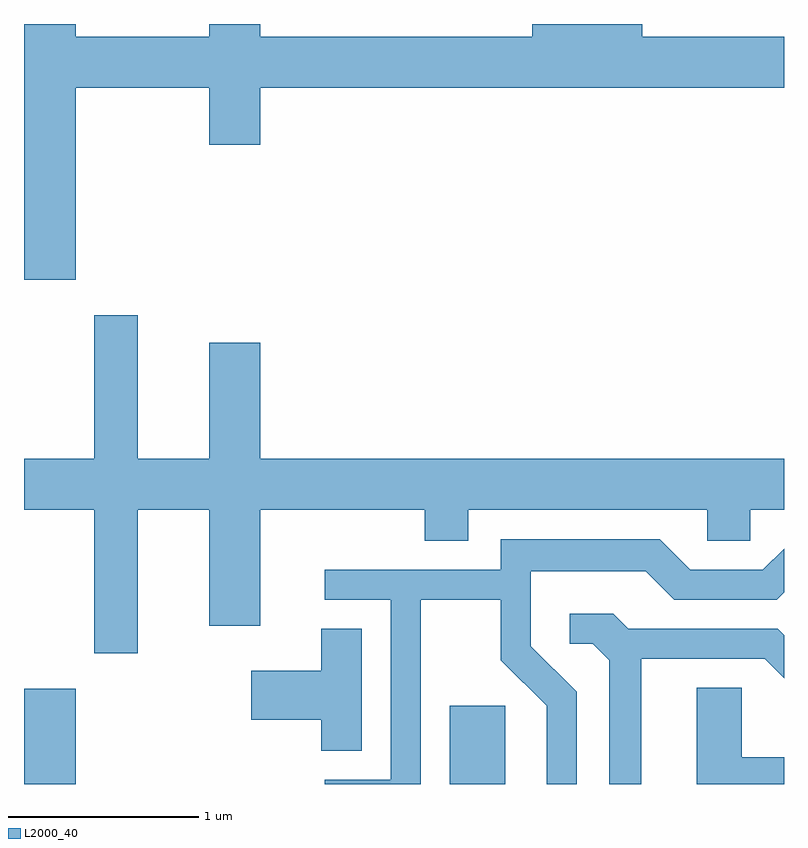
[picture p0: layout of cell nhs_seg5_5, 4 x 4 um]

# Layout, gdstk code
import gdstk
lib = gdstk.Library(unit=1e-6, precision=1e-09)
def R(c, l, rs):  # rectangles x0, y0, x1, y1
    for r in rs: c.add(gdstk.rectangle(r[:2], r[2:], *l))
def P(c, l, *ps):  # polygons
    for p in ps: c.add(gdstk.Polygon(p, *l))
L2000_40 = (2000, 40)

nhs_seg5_5 = lib.new_cell('nhs_seg5_5')
R(nhs_seg5_5, L2000_40, [(185.611,1402.072,185.884,1402.574), (187.851,1402.072,188.144,1402.484)])
P(nhs_seg5_5, L2000_40, [(185.884,1405.736),(186.586,1405.736),(186.586,1405.436),(186.854,1405.436),(186.854,1405.736),(189.611,1405.736),(189.611,1406.004),(188.864,1406.004),(188.864,1406.072),(188.286,1406.072),(188.286,1406.004),(186.854,1406.004),(186.854,1406.072),(186.586,1406.072),(186.586,1406.004),(185.884,1406.004),(185.884,1406.072),(185.611,1406.072),(185.611,1404.726),(185.884,1404.726)],
  [(186.209,1403.516),(186.586,1403.516),(186.586,1402.906),(186.854,1402.906),(186.854,1403.516),(187.721,1403.516),(187.721,1403.351),(187.949,1403.351),(187.949,1403.516),(189.206,1403.516),(189.206,1403.351),(189.434,1403.351),(189.434,1403.516),(189.611,1403.516),(189.611,1403.784),(186.854,1403.784),(186.854,1404.394),(186.586,1404.394),(186.586,1403.784),(186.209,1403.784),(186.209,1404.539),(185.981,1404.539),(185.981,1403.784),(185.611,1403.784),(185.611,1403.516),(185.981,1403.516),(185.981,1402.761),(186.209,1402.761)],
  [(187.699,1403.041),(188.121,1403.041),(188.121,1402.724),(188.361,1402.484),(188.361,1402.072),(188.519,1402.072),(188.519,1402.557),(188.279,1402.797),(188.279,1403.191),(188.884,1403.191),(189.034,1403.041),(189.572,1403.041),(189.611,1403.08),(189.611,1403.311),(189.499,1403.199),(189.117,1403.199),(188.957,1403.359),(188.121,1403.359),(188.121,1403.199),(187.193,1403.199),(187.193,1403.041),(187.541,1403.041),(187.541,1402.094),(187.193,1402.094),(187.193,1402.072),(187.699,1402.072)],
  [(188.859,1402.731),(189.509,1402.731),(189.611,1402.629),(189.611,1402.855),(189.577,1402.889),(188.792,1402.889),(188.712,1402.969),(188.483,1402.969),(188.483,1402.811),(188.604,1402.811),(188.691,1402.724),(188.691,1402.072),(188.859,1402.072)],
  [(187.389,1402.889),(187.176,1402.889),(187.176,1402.669),(186.806,1402.669),(186.806,1402.411),(187.176,1402.411),(187.176,1402.246),(187.389,1402.246)],
  [(189.611,1402.214),(189.389,1402.214),(189.389,1402.579),(189.151,1402.579),(189.151,1402.072),(189.611,1402.072)])

lib.write_gds('nhs_seg5_5.gds')
